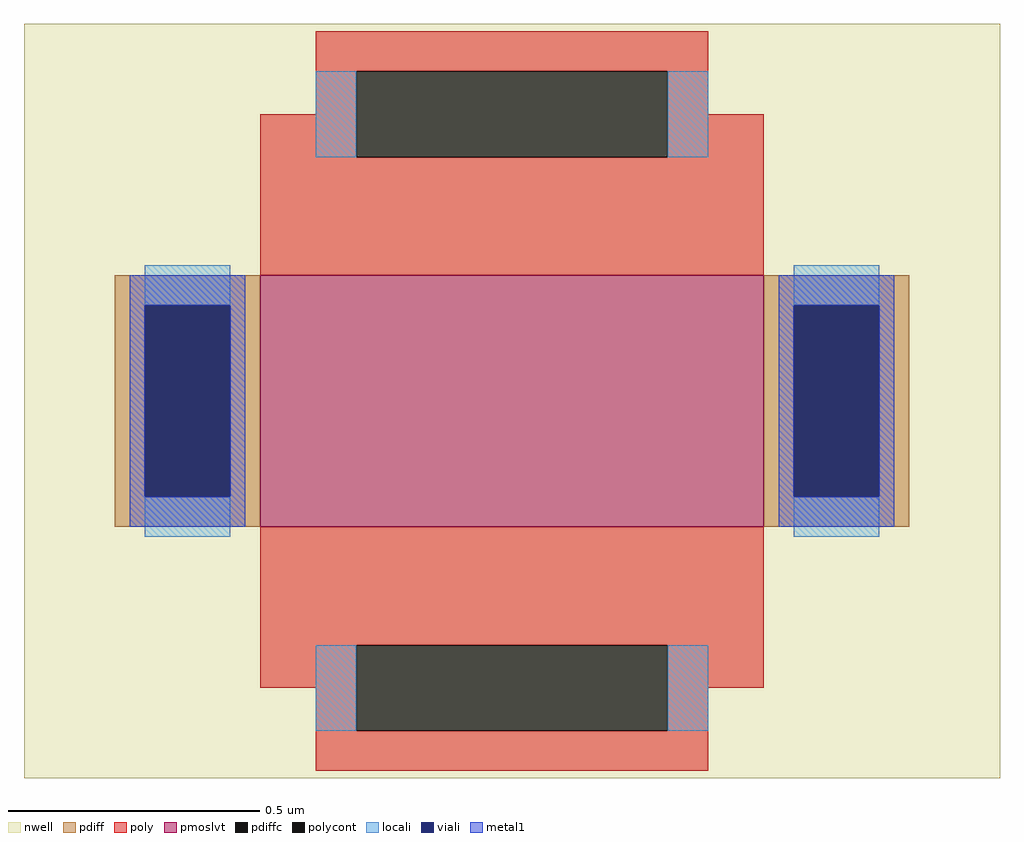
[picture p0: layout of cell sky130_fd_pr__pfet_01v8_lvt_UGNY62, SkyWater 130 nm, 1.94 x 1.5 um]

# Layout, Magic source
magic
tech sky130A
magscale 1 2
<< nwell >>
rect -194 -150 194 150
<< pmoslvt >>
rect -100 -50 100 50
<< pdiff >>
rect -158 38 -100 50
rect -158 -38 -146 38
rect -112 -38 -100 38
rect -158 -50 -100 -38
rect 100 38 158 50
rect 100 -38 112 38
rect 146 -38 158 38
rect 100 -50 158 -38
<< pdiffc >>
rect -146 -38 -112 38
rect 112 -38 146 38
<< poly >>
rect -78 131 78 147
rect -78 114 -62 131
rect -100 97 -62 114
rect 62 114 78 131
rect 62 97 100 114
rect -100 50 100 97
rect -100 -97 100 -50
rect -100 -114 -62 -97
rect -78 -131 -62 -114
rect 62 -114 100 -97
rect 62 -131 78 -114
rect -78 -147 78 -131
<< polycont >>
rect -62 97 62 131
rect -62 -131 62 -97
<< locali >>
rect -78 97 -62 131
rect 62 97 78 131
rect -146 38 -112 54
rect -146 -54 -112 -38
rect 112 38 146 54
rect 112 -54 146 -38
rect -78 -131 -62 -97
rect 62 -131 78 -97
<< viali >>
rect -146 -38 -112 38
rect 112 -38 146 38
<< metal1 >>
rect -152 38 -106 50
rect -152 -38 -146 38
rect -112 -38 -106 38
rect -152 -50 -106 -38
rect 106 38 152 50
rect 106 -38 112 38
rect 146 -38 152 38
rect 106 -50 152 -38
<< properties >>
string gencell sky130_fd_pr__pfet_01v8_lvt
string library sky130
string parameters w 0.5 l 1.0 m 1 nf 1 diffcov 100 polycov 74 guard 0 glc 1 grc 1 gtc 1 gbc 1 tbcov 100 rlcov 100 topc 0 botc 1 poverlap 1 doverlap 1 lmin 0.35 wmin 0.42 class mosfet compatible {sky130_fd_pr__pfet_01v8  sky130_fd_pr__pfet_01v8_lvt sky130_fd_pr__pfet_01v8_hvt  sky130_fd_pr__pfet_g5v0d10v5} full_metal 1 viasrc 100 viadrn 100 viagate 0 viagb 0 viagr 0 viagl 0 viagt 0
<< end >>
